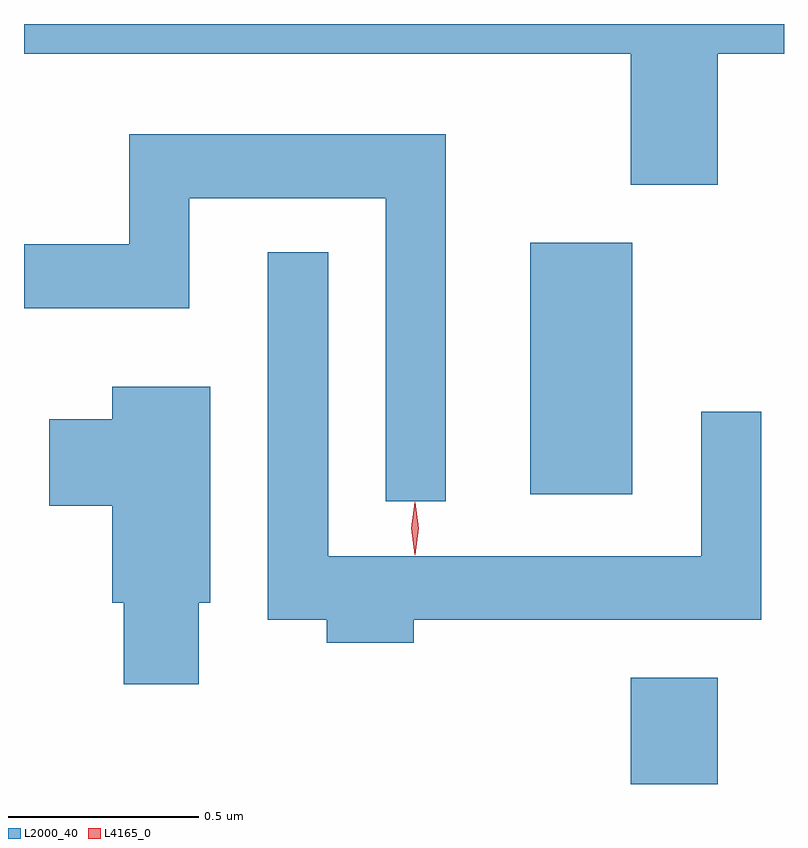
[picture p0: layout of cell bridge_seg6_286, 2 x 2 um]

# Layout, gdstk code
import gdstk
lib = gdstk.Library(unit=1e-6, precision=1e-09)
def R(c, l, rs):  # rectangles x0, y0, x1, y1
    for r in rs: c.add(gdstk.rectangle(r[:2], r[2:], *l))
def P(c, l, *ps):  # polygons
    for p in ps: c.add(gdstk.Polygon(p, *l))
L2000_40 = (2000, 40)
L4165_0 = (4165, 0)

bridge_seg6_286 = lib.new_cell('bridge_seg6_286')
R(bridge_seg6_286, L2000_40, [(1253.001,1548.114,1253.229,1548.394), (1252.736,1548.876,1253.004,1549.539)])
P(bridge_seg6_286, L2000_40, [(1253.229,1550.036),(1253.404,1550.036),(1253.404,1550.114),(1251.404,1550.114),(1251.404,1550.036),(1253.001,1550.036),(1253.001,1549.691),(1253.229,1549.691)],
  [(1252.514,1549.824),(1251.681,1549.824),(1251.681,1549.534),(1251.404,1549.534),(1251.404,1549.366),(1251.839,1549.366),(1251.839,1549.656),(1252.356,1549.656),(1252.356,1548.858),(1252.514,1548.858)],
  [(1252.429,1548.546),(1253.344,1548.546),(1253.344,1549.093),(1253.186,1549.093),(1253.186,1548.714),(1252.204,1548.714),(1252.204,1549.513),(1252.046,1549.513),(1252.046,1548.546),(1252.201,1548.546),(1252.201,1548.486),(1252.429,1548.486)],
  [(1251.864,1548.591),(1251.894,1548.591),(1251.894,1549.159),(1251.636,1549.159),(1251.636,1549.074),(1251.471,1549.074),(1251.471,1548.846),(1251.636,1548.846),(1251.636,1548.591),(1251.666,1548.591),(1251.666,1548.376),(1251.864,1548.376)])
P(bridge_seg6_286, L4165_0, [(1252.432,1548.717),(1252.423,1548.787),(1252.432,1548.856),(1252.433,1548.856),(1252.434,1548.856),(1252.443,1548.787),(1252.434,1548.717),(1252.433,1548.717)])

lib.write_gds('bridge_seg6_286.gds')
